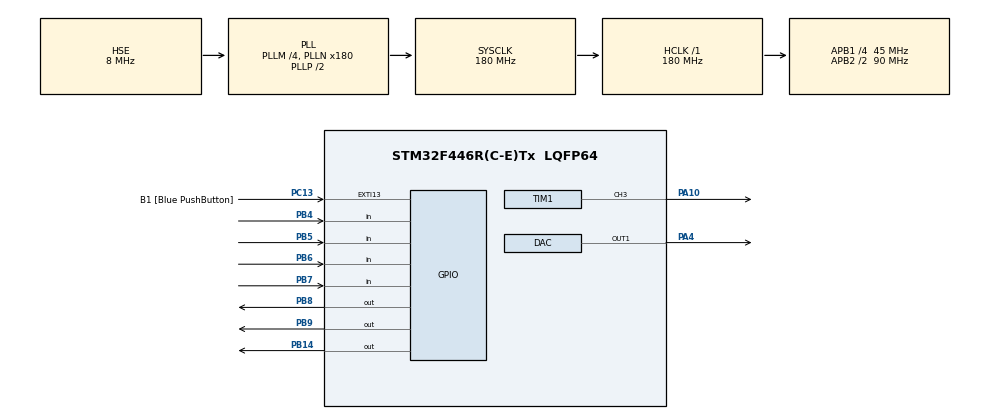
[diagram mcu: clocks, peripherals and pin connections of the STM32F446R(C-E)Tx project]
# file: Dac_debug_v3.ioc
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DAC.DAC_OutputBuffer=DAC_OUTPUTBUFFER_ENABLE
DAC.DAC_Trigger=DAC_TRIGGER_T2_TRGO
Dma.DAC1.0.Direction=DMA_MEMORY_TO_PERIPH
Dma.DAC1.0.FIFOMode=DMA_FIFOMODE_DISABLE
Dma.DAC1.0.Instance=DMA1_Stream5
Dma.DAC1.0.MemDataAlignment=DMA_MDATAALIGN_WORD
Dma.DAC1.0.MemInc=DMA_MINC_ENABLE
Dma.DAC1.0.Mode=DMA_CIRCULAR
Dma.DAC1.0.PeriphDataAlignment=DMA_PDATAALIGN_WORD
Dma.DAC1.0.PeriphInc=DMA_PINC_DISABLE
Dma.DAC1.0.Priority=DMA_PRIORITY_LOW
Dma.Request0=DAC1
Mcu.Family=STM32F4
Mcu.Name=STM32F446R(C-E)Tx
Mcu.Package=LQFP64
NVIC.DMA1_Stream5_IRQn=true\:0\:0\:false\:false\:true\:false\:true\:true
NVIC.EXTI15_10_IRQn=true\:0\:0\:false\:false\:true\:true\:true\:true
NVIC.PriorityGroup=NVIC_PRIORITYGROUP_0
NVIC.TIM2_IRQn=true\:0\:0\:false\:false\:true\:true\:true\:true
PA10.Signal=S_TIM1_CH3
PA13.GPIO_Label=TMS
PA13.Mode=Serial_Wire
PA13.Signal=SYS_JTMS-SWDIO
PA14.GPIO_Label=TCK
PA14.Mode=Serial_Wire
PA14.Signal=SYS_JTCK-SWCLK
PA4.Signal=COMP_DAC1_group
PB14.Signal=GPIO_Output
PB3.GPIO_Label=SWO
PB3.Signal=SYS_JTDO-SWO
PB4.GPIO_PuPd=GPIO_PULLUP
PB4.Signal=GPIO_Input
PB5.GPIO_PuPd=GPIO_PULLUP
PB5.Signal=GPIO_Input
PB6.GPIO_PuPd=GPIO_PULLUP
PB6.Signal=GPIO_Input
PB7.GPIO_PuPd=GPIO_PULLUP
PB7.Signal=GPIO_Input
PB8.GPIO_Speed=GPIO_SPEED_FREQ_LOW
PB8.Signal=GPIO_Output
PB9.Signal=GPIO_Output
PC13.GPIO_Label=B1 [Blue PushButton]
PC13.GPIO_ModeDefaultEXTI=GPIO_MODE_IT_FALLING
PC13.Signal=GPXTI13
PC14-OSC32_IN.Mode=LSE-External-Oscillator
PC14-OSC32_IN.Signal=RCC_OSC32_IN
PC15-OSC32_OUT.Mode=LSE-External-Oscillator
PC15-OSC32_OUT.Signal=RCC_OSC32_OUT
PH0-OSC_IN.Mode=HSE-External-Oscillator
PH0-OSC_IN.Signal=RCC_OSC_IN
PH1-OSC_OUT.Mode=HSE-External-Oscillator
PH1-OSC_OUT.Signal=RCC_OSC_OUT
ProjectManager.HeapSize=0x200
ProjectManager.StackSize=0x400
ProjectManager.TargetToolchain=MDK-ARM V5.32
RCC.48MHZClocksFreq_Value=84000000
RCC.AHBFreq_Value=180000000
RCC.APB1CLKDivider=RCC_HCLK_DIV4
RCC.APB1Freq_Value=45000000
RCC.APB1TimFreq_Value=90000000
RCC.APB2CLKDivider=RCC_HCLK_DIV2
RCC.APB2Freq_Value=90000000
RCC.APB2TimFreq_Value=180000000
RCC.CortexFreq_Value=180000000
RCC.FLatency-AdvancedSettings=FLASH_LATENCY_5
RCC.HCLKFreq_Value=180000000
RCC.HSE_VALUE=8000000
RCC.HSI_VALUE=16000000
RCC.PLLM=4
RCC.PLLN=180
RCC.PLLSourceVirtual=RCC_PLLSOURCE_HSE
RCC.SYSCLKFreq_VALUE=180000000
RCC.SYSCLKSource=RCC_SYSCLKSOURCE_PLLCLK
RCC.USBFreq_Value=180000000
RCC.VCOOutputFreq_Value=360000000
SH.COMP_DAC1_group.0=DAC_OUT1,DAC_OUT1
SH.S_TIM1_CH3.0=TIM1_CH3,PWM Generation3 CH3
TIM1.Channel-PWM\ Generation3\ CH3=TIM_CHANNEL_3
TIM1.OC3Preload_PWM=DISABLE
TIM2.Period=0
TIM2.Prescaler=1-1
TIM2.TIM_MasterOutputTrigger=TIM_TRGO_UPDATE
VP_TIM1_VS_ClockSourceINT.Mode=Internal
VP_TIM2_VS_ClockSourceINT.Mode=Internal
board=NUCLEO-F446RE

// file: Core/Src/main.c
/* USER CODE BEGIN Header */
/**
  ******************************************************************************
  * @file           : main.c
  * @brief          : Main program body
  ******************************************************************************
  * @attention
  *
  * Copyright (c) 2022 STMicroelectronics.
  * All rights reserved.
  *
  * This software is licensed under terms that can be found in the LICENSE file
  * in the root directory of this software component.
  * If no LICENSE file comes with this software, it is provided AS-IS.
  *
  ******************************************************************************
  */
/* USER CODE END Header */
#include "main.h"

/* USER CODE BEGIN Includes */
#include "math.h"
#include "stdio.h"
/* USER CODE END Includes */

DAC_HandleTypeDef hdac;
DMA_HandleTypeDef hdma_dac1;

TIM_HandleTypeDef htim1;
TIM_HandleTypeDef htim2;

/* USER CODE BEGIN PV */

uint32_t f_timer = F_TIM2;

/* USER CODE END PV */

void SystemClock_Config(void);
static void MX_GPIO_Init(void);
static void MX_DMA_Init(void);
static void MX_DAC_Init(void);
static void MX_TIM2_Init(void);
static void MX_TIM1_Init(void);
/* USER CODE BEGIN PFP */
uint32_t read_keypad(void);
/* USER CODE END PFP */

/* USER CODE BEGIN 0 */
#define samples 64 //количество выборок
#define PI 3.1415926
const uint8_t sampl = samples;
static uint8_t flag = 0;
const uint32_t freq = 50000; // частота сигнала
uint32_t sine_val[samples];
uint32_t triangular [samples];
uint32_t saw[samples];
int d2 = 1; // шаг для таймера 1
int d1 = 1; // шаг для таймера 1

uint32_t period_timer = F_TIM2/(sampl*freq);
float max_val = 3.3; //максимальное значение напряжения на выходе
/*
Расчёт значений синуса
*/
void get_sineval()
{
    for(int i=0;i<samples;i++)
    {
        sine_val[i]=(sin(i*2*PI/(samples))+1)*(4096*max_val/(2*3.3));
    }
}

/*
Расчёт значений треугольника
*/
void get_triangular()
{
 for(int i=0;i<samples;i++)
    {
    if (i<=samples/2U)
    {
        triangular[i] = (4095/3.3*max_val*i)/(samples/2);
    }
    else
    {
        triangular[i] = (4095/3.3*max_val*(samples-i))/(samples/2);
    }
    }
}
/*
Расчёт значений пилы
*/
void get_saw()
{
    for(int i=0;i<samples;i++)
    {
    saw[i]=(4095/3.3*max_val*i)/(samples-1);
    }

}

uint32_t read_keypad (void)
{
	/* Make ROW 1 LOW */
	HAL_GPIO_WritePin (R1_PORT, R1_PIN, GPIO_PIN_RESET);  //
    HAL_GPIO_WritePin (R2_PORT, R2_PIN, GPIO_PIN_SET);
    HAL_GPIO_WritePin (R3_PORT, R3_PIN, GPIO_PIN_SET);
	if (!(HAL_GPIO_ReadPin (C1_PORT, C1_PIN)))   // if the Col 1 is low
	{
		while (!(HAL_GPIO_ReadPin (C1_PORT, C1_PIN)));//ожидание нажатия кнопки
        if (flag==0){
        HAL_DAC_Stop_DMA(&hdac,DAC1_CHANNEL_1);
        flag = 1;
        }
        else
        {
        HAL_DAC_Start_DMA(&hdac, DAC1_CHANNEL_1, sine_val, samples, DAC_ALIGN_12B_R);
        flag = 0;
        }

	}

	if (!(HAL_GPIO_ReadPin (C2_PORT, C2_PIN)))   // if the Col 2 is low
	{
		while (!(HAL_GPIO_ReadPin (C2_PORT, C2_PIN)));   //ожидание нажатия кнопки
        if (flag == 0){
        HAL_DAC_Stop_DMA(&hdac,DAC1_CHANNEL_1);
        HAL_TIM_PWM_Start(&htim1, TIM_CHANNEL_3);
        }
        else
        {
            HAL_TIM_PWM_Stop(&htim1, TIM_CHANNEL_3);
        }
	}

	if (!(HAL_GPIO_ReadPin (C3_PORT, C3_PIN)))   // if the Col 3 is low
	{
		while (!(HAL_GPIO_ReadPin (C3_PORT, C3_PIN)));     // ожидание нажатия кнопки
        HAL_DAC_Start_DMA(&hdac, DAC1_CHANNEL_1, saw, samples, DAC_ALIGN_12B_R);
        flag = 0;

    }
    if (!(HAL_GPIO_ReadPin (C4_PORT, C4_PIN)))   // if the Col 3 is low
	{
		while (!(HAL_GPIO_ReadPin (C3_PORT, C3_PIN))); // ожидание нажатия кнопки
         HAL_DAC_Start_DMA(&hdac, DAC1_CHANNEL_1, triangular, samples, DAC_ALIGN_12B_R);
         flag = 0;

    }

    HAL_GPIO_WritePin (R1_PORT, R1_PIN, GPIO_PIN_SET);
    HAL_GPIO_WritePin (R2_PORT, R2_PIN, GPIO_PIN_RESET);
    HAL_GPIO_WritePin (R3_PORT, R3_PIN, GPIO_PIN_SET);

    if (!(HAL_GPIO_ReadPin (C3_PORT, C3_PIN)))   // if the Col 1 is low
	{
		while (!(HAL_GPIO_ReadPin (C3_PORT, C3_PIN)));//ожидание нажатия кнопки
        HAL_Delay(100);
        if(htim2.Init.Period < 65535) //увеличиваем период таймера
        {
        period_timer=period_timer+d2;
        TIM2->ARR = period_timer;
        }
    }

    if (!(HAL_GPIO_ReadPin (C4_PORT, C4_PIN)))   // if the Col 1 is low
	{
		while (!(HAL_GPIO_ReadPin (C4_PORT, C4_PIN)));//ожидание нажатия кнопки
        HAL_Delay(100);
        if(period_timer > 1) //уменьшаем период таймера
        {
        period_timer=period_timer-d2;
        TIM2->ARR = period_timer;
        }
    }

}
/* USER CODE END 0 */

int main(void)
{
  /* USER CODE BEGIN 1 */
volatile float TIM1_Period = 100;
volatile float TIM1_Pulse = 20;
volatile float Zapoln = TIM1_Period/TIM1_Pulse; //Заполнение ШИМ

  /* USER CODE END 1 */

  /* MCU Configuration--------------------------------------------------------*/

  /* Reset of all peripherals, Initializes the Flash interface and the Systick. */
  HAL_Init();

  /* Configure the system clock */
  SystemClock_Config();

  /* Initialize all configured peripherals */
  MX_GPIO_Init();
  MX_DMA_Init();
  MX_DAC_Init();
  MX_TIM2_Init();
  MX_TIM1_Init();
  /* USER CODE BEGIN 2 */
    HAL_TIM_Base_Start(&htim2);
    get_sineval();
    get_triangular();
    get_saw();

  /* USER CODE END 2 */

  /* Infinite loop */
  /* USER CODE BEGIN WHILE */
  while (1)
  {
          read_keypad();
           if (!(HAL_GPIO_ReadPin (C1_PORT, C1_PIN)))   // if the Col 1 is low
	{
		while (!(HAL_GPIO_ReadPin (C1_PORT, C1_PIN)));//ожидание нажатия кнопки
        HAL_Delay(100);
        if(htim1.Init.Period < 65535) //увеличиваем период таймера
        {
        TIM1_Period=TIM1_Period+d1;
        TIM1->ARR = TIM1_Period;
        TIM1_Pulse = TIM1_Period/Zapoln;
        TIM1->CCR3 = TIM1_Pulse;
        }
    }

    if (!(HAL_GPIO_ReadPin (C2_PORT, C2_PIN)))   // if the Col 1 is low
	{
		while (!(HAL_GPIO_ReadPin (C2_PORT, C2_PIN)));//ожидание нажатия кнопки
        HAL_Delay(100);
        if(TIM1_Period > 1) //уменьшаем период таймера
        {
        TIM1_Period=TIM1_Period-d1;
        TIM1->ARR = TIM1_Period;
        TIM1_Pulse = TIM1_Period/Zapoln;
        TIM1->CCR3 = TIM1_Pulse;
        }
    }
    HAL_GPIO_WritePin (R1_PORT, R1_PIN, GPIO_PIN_SET);
    HAL_GPIO_WritePin (R2_PORT, R2_PIN, GPIO_PIN_SET);
    HAL_GPIO_WritePin (R3_PORT, R3_PIN, GPIO_PIN_RESET);

    if (!(HAL_GPIO_ReadPin (C1_PORT, C1_PIN)))   // if the Col 1 is low
	{
		while (!(HAL_GPIO_ReadPin (C1_PORT, C1_PIN)));//ожидание нажатия кнопки
        HAL_Delay(100);
        if(TIM1_Pulse < TIM1_Period-1-d1) //увеличиваем заполнение ШИМ
        {
        TIM1_Pulse = TIM1_Pulse+d1;
        TIM1->CCR3 = TIM1_Pulse;
        Zapoln = TIM1_Period/TIM1_Pulse;
        }
    }

    if (!(HAL_GPIO_ReadPin (C2_PORT, C2_PIN)))   // if the Col 1 is low
	{
		while (!(HAL_GPIO_ReadPin (C2_PORT, C2_PIN)));//ожидание нажатия кнопки
        HAL_Delay(100);
        if(TIM1_Pulse > 1+d1) //уменьшаем заполнение ШИМ
        {
        TIM1_Pulse = TIM1_Pulse-d1;
        TIM1->CCR3 = TIM1_Pulse;
        Zapoln = TIM1_Period/TIM1_Pulse;
        }
    }

    /* USER CODE END WHILE */

  }
}

void SystemClock_Config(void)
{
  RCC_OscInitTypeDef RCC_OscInitStruct = {0};
  RCC_ClkInitTypeDef RCC_ClkInitStruct = {0};

  /** Configure the main internal regulator output voltage
  */
  __HAL_RCC_PWR_CLK_ENABLE();
  __HAL_PWR_VOLTAGESCALING_CONFIG(PWR_REGULATOR_VOLTAGE_SCALE1);

  /** Initializes the RCC Oscillators according to the specified parameters
  * in the RCC_OscInitTypeDef structure.
  */
  RCC_OscInitStruct.OscillatorType = RCC_OSCILLATORTYPE_HSE;
  RCC_OscInitStruct.HSEState = RCC_HSE_ON;
  RCC_OscInitStruct.PLL.PLLState = RCC_PLL_ON;
  RCC_OscInitStruct.PLL.PLLSource = RCC_PLLSOURCE_HSE;
  RCC_OscInitStruct.PLL.PLLM = 4;
  RCC_OscInitStruct.PLL.PLLN = 180;
  RCC_OscInitStruct.PLL.PLLP = RCC_PLLP_DIV2;
  RCC_OscInitStruct.PLL.PLLQ = 2;
  RCC_OscInitStruct.PLL.PLLR = 2;
  if (HAL_RCC_OscConfig(&RCC_OscInitStruct) != HAL_OK)
  {
    Error_Handler();
  }

  /** Activate the Over-Drive mode
  */
  if (HAL_PWREx_EnableOverDrive() != HAL_OK)
  {
    Error_Handler();
  }

  /** Initializes the CPU, AHB and APB buses clocks
  */
  RCC_ClkInitStruct.ClockType = RCC_CLOCKTYPE_HCLK|RCC_CLOCKTYPE_SYSCLK
                              |RCC_CLOCKTYPE_PCLK1|RCC_CLOCKTYPE_PCLK2;
  RCC_ClkInitStruct.SYSCLKSource = RCC_SYSCLKSOURCE_PLLCLK;
  RCC_ClkInitStruct.AHBCLKDivider = RCC_SYSCLK_DIV1;
  RCC_ClkInitStruct.APB1CLKDivider = RCC_HCLK_DIV4;
  RCC_ClkInitStruct.APB2CLKDivider = RCC_HCLK_DIV2;

  if (HAL_RCC_ClockConfig(&RCC_ClkInitStruct, FLASH_LATENCY_5) != HAL_OK)
  {
    Error_Handler();
  }
}

static void MX_DAC_Init(void)
{

  DAC_ChannelConfTypeDef sConfig = {0};

  /** DAC Initialization
  */
  hdac.Instance = DAC;
  if (HAL_DAC_Init(&hdac) != HAL_OK)
  {
    Error_Handler();
  }

  /** DAC channel OUT1 config
  */
  sConfig.DAC_Trigger = DAC_TRIGGER_T2_TRGO;
  sConfig.DAC_OutputBuffer = DAC_OUTPUTBUFFER_ENABLE;
  if (HAL_DAC_ConfigChannel(&hdac, &sConfig, DAC_CHANNEL_1) != HAL_OK)
  {
    Error_Handler();
  }

}

static void MX_TIM1_Init(void)
{

  TIM_ClockConfigTypeDef sClockSourceConfig = {0};
  TIM_MasterConfigTypeDef sMasterConfig = {0};
  TIM_OC_InitTypeDef sConfigOC = {0};
  TIM_BreakDeadTimeConfigTypeDef sBreakDeadTimeConfig = {0};

  htim1.Instance = TIM1;
  htim1.Init.Prescaler = 18-1;
  htim1.Init.CounterMode = TIM_COUNTERMODE_UP;
  htim1.Init.Period = 100-1;
  htim1.Init.ClockDivision = TIM_CLOCKDIVISION_DIV1;
  htim1.Init.RepetitionCounter = 0;
  htim1.Init.AutoReloadPreload = TIM_AUTORELOAD_PRELOAD_DISABLE;
  if (HAL_TIM_Base_Init(&htim1) != HAL_OK)
  {
    Error_Handler();
  }
  sClockSourceConfig.ClockSource = TIM_CLOCKSOURCE_INTERNAL;
  if (HAL_TIM_ConfigClockSource(&htim1, &sClockSourceConfig) != HAL_OK)
  {
    Error_Handler();
  }
  if (HAL_TIM_PWM_Init(&htim1) != HAL_OK)
  {
    Error_Handler();
  }
  sMasterConfig.MasterOutputTrigger = TIM_TRGO_RESET;
  sMasterConfig.MasterSlaveMode = TIM_MASTERSLAVEMODE_DISABLE;
  if (HAL_TIMEx_MasterConfigSynchronization(&htim1, &sMasterConfig) != HAL_OK)
  {
    Error_Handler();
  }
  sConfigOC.OCMode = TIM_OCMODE_PWM1;
  sConfigOC.Pulse = 20;
  sConfigOC.OCPolarity = TIM_OCPOLARITY_HIGH;
  sConfigOC.OCNPolarity = TIM_OCNPOLARITY_HIGH;
  sConfigOC.OCFastMode = TIM_OCFAST_DISABLE;
  sConfigOC.OCIdleState = TIM_OCIDLESTATE_RESET;
  sConfigOC.OCNIdleState = TIM_OCNIDLESTATE_RESET;
  if (HAL_TIM_PWM_ConfigChannel(&htim1, &sConfigOC, TIM_CHANNEL_3) != HAL_OK)
  {
    Error_Handler();
  }
  __HAL_TIM_DISABLE_OCxPRELOAD(&htim1, TIM_CHANNEL_3);
  sBreakDeadTimeConfig.OffStateRunMode = TIM_OSSR_DISABLE;
  sBreakDeadTimeConfig.OffStateIDLEMode = TIM_OSSI_DISABLE;
  sBreakDeadTimeConfig.LockLevel = TIM_LOCKLEVEL_OFF;
  sBreakDeadTimeConfig.DeadTime = 0;
  sBreakDeadTimeConfig.BreakState = TIM_BREAK_DISABLE;
  sBreakDeadTimeConfig.BreakPolarity = TIM_BREAKPOLARITY_HIGH;
  sBreakDeadTimeConfig.AutomaticOutput = TIM_AUTOMATICOUTPUT_DISABLE;
  if (HAL_TIMEx_ConfigBreakDeadTime(&htim1, &sBreakDeadTimeConfig) != HAL_OK)
  {
    Error_Handler();
  }
  HAL_TIM_MspPostInit(&htim1);

}

static void MX_TIM2_Init(void)
{

  TIM_ClockConfigTypeDef sClockSourceConfig = {0};
  TIM_MasterConfigTypeDef sMasterConfig = {0};

  htim2.Instance = TIM2;
  htim2.Init.Prescaler = 1-1;
  htim2.Init.CounterMode = TIM_COUNTERMODE_UP;
  htim2.Init.Period = period_timer-1;
  htim2.Init.ClockDivision = TIM_CLOCKDIVISION_DIV1;
  htim2.Init.AutoReloadPreload = TIM_AUTORELOAD_PRELOAD_DISABLE;
  if (HAL_TIM_Base_Init(&htim2) != HAL_OK)
  {
    Error_Handler();
  }
  sClockSourceConfig.ClockSource = TIM_CLOCKSOURCE_INTERNAL;
  if (HAL_TIM_ConfigClockSource(&htim2, &sClockSourceConfig) != HAL_OK)
  {
    Error_Handler();
  }
  sMasterConfig.MasterOutputTrigger = TIM_TRGO_UPDATE;
  sMasterConfig.MasterSlaveMode = TIM_MASTERSLAVEMODE_DISABLE;
  if (HAL_TIMEx_MasterConfigSynchronization(&htim2, &sMasterConfig) != HAL_OK)
  {
    Error_Handler();
  }

}

static void MX_DMA_Init(void)
{

  /* DMA controller clock enable */
  __HAL_RCC_DMA1_CLK_ENABLE();

  /* DMA interrupt init */
  /* DMA1_Stream5_IRQn interrupt configuration */
  HAL_NVIC_SetPriority(DMA1_Stream5_IRQn, 0, 0);
  HAL_NVIC_EnableIRQ(DMA1_Stream5_IRQn);

}

static void MX_GPIO_Init(void)
{
  GPIO_InitTypeDef GPIO_InitStruct = {0};

  /* GPIO Ports Clock Enable */
  __HAL_RCC_GPIOC_CLK_ENABLE();
  __HAL_RCC_GPIOH_CLK_ENABLE();
  __HAL_RCC_GPIOA_CLK_ENABLE();
  __HAL_RCC_GPIOB_CLK_ENABLE();

  /*Configure GPIO pin Output Level */
  HAL_GPIO_WritePin(GPIOB, GPIO_PIN_14|GPIO_PIN_8|GPIO_PIN_9, GPIO_PIN_RESET);

  /*Configure GPIO pin : B1_Pin */
  GPIO_InitStruct.Pin = B1_Pin;
  GPIO_InitStruct.Mode = GPIO_MODE_IT_FALLING;
  GPIO_InitStruct.Pull = GPIO_NOPULL;
  HAL_GPIO_Init(B1_GPIO_Port, &GPIO_InitStruct);

  /*Configure GPIO pins : PB14 PB8 PB9 */
  GPIO_InitStruct.Pin = GPIO_PIN_14|GPIO_PIN_8|GPIO_PIN_9;
  GPIO_InitStruct.Mode = GPIO_MODE_OUTPUT_PP;
  GPIO_InitStruct.Pull = GPIO_NOPULL;
  GPIO_InitStruct.Speed = GPIO_SPEED_FREQ_LOW;
  HAL_GPIO_Init(GPIOB, &GPIO_InitStruct);

  /*Configure GPIO pins : PB4 PB5 PB6 PB7 */
  GPIO_InitStruct.Pin = GPIO_PIN_4|GPIO_PIN_5|GPIO_PIN_6|GPIO_PIN_7;
  GPIO_InitStruct.Mode = GPIO_MODE_INPUT;
  GPIO_InitStruct.Pull = GPIO_PULLUP;
  HAL_GPIO_Init(GPIOB, &GPIO_InitStruct);

  /* EXTI interrupt init*/
  HAL_NVIC_SetPriority(EXTI15_10_IRQn, 0, 0);
  HAL_NVIC_EnableIRQ(EXTI15_10_IRQn);

}

void Error_Handler(void)
{
  __disable_irq();
  while (1)
  {
  }
}
